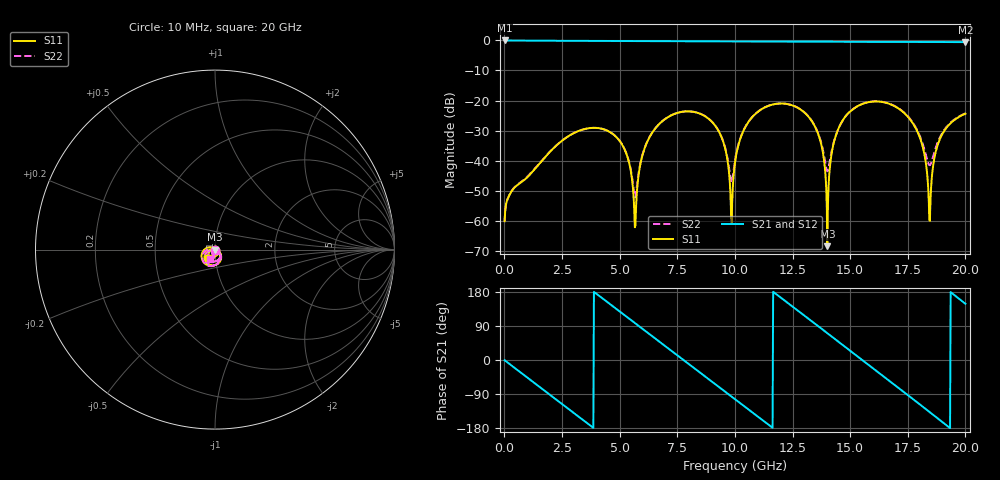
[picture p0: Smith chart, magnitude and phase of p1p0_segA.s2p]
! Stitch-density study - 40 x 12 mm symmetric stripline, cut at x=20 mm
! Case: p1p0_segA
! Sweep: 10 MHz - 20 GHz, 25 MHz step, 4 cores
# GHz S MA R 50.000000
! Terminal data exported
! Port[1] = U1.PAD1.SIG
! Port[2] = U2.PAD1.SIG
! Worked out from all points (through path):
!   801 points, 10 MHz to 20 GHz, reference 50 ohm
!   highest |S21| = -0.01 dB at 10 MHz (marker M1); lowest = -0.6 dB at 20 GHz (marker M2)
!   group delay of S21, straight-line fit = 129 ps
!   lowest |S11| = -68.5 dB at 14.01 GHz (marker M3), VSWR 1.00, Z = 50 - j0.0318 ohm
!   |S11| at or under -10 dB: start of sweep to end of sweep
!   |S22| runs from -60.2 to -20.3 dB; largest |S21 - S12| = 0
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0.01  0.000981 26.1  0.9991 -0.5  0.9991 -0.5  0.000981 26.1
1.76  0.01139 -5.3  0.9891 -81.9  0.9891 -81.9  0.01152 -7.7
3.36  0.03255 -66.9  0.983 -155.9  0.983 -155.9  0.03257 -67.5
5.01  0.02105 -140.7  0.978 127.8  0.978 127.8  0.02115 -137.3
5.66  0.0007776 -114.1  0.9763 97.7  0.9763 97.7  0.002439 -92.2
6.035  0.01411 -12.4  0.9751 80.3  0.9751 80.3  0.01431 -19.7
6.685  0.03952 -40.6  0.9726 50.3  0.9726 50.3  0.03961 -42.9
8.185  0.06507 -109.1  0.9671 -19.0  0.9671 -19.0  0.06516 -108.2
9.36  0.02772 -162.4  0.9656 -73.4  0.9656 -73.4  0.028 -155.8
9.835  0.001266 -147.6  0.9647 -95.4  0.9647 -95.4  0.004404 -108.6
10.01  0.009552 -18.5  0.9642 -103.6  0.9642 -103.6  0.01046 -37.8
10.56  0.04244 -40.5  0.9619 -129.1  0.9619 -129.1  0.04268 -44.3
11.685  0.08668 -91.8  0.9563 178.8  0.9563 178.8  0.08687 -91.5
13.36  0.04407 -168.6  0.9548 101.2  0.9548 101.2  0.04456 -161.0
14.01  0.0003776 -122.5  0.954 70.8  0.954 70.8  0.006642 -110.0
14.285  0.01947 -31.1  0.9527 58.0  0.9527 58.0  0.02006 -48.5
14.735  0.05065 -51.8  0.9495 37.0  0.9495 37.0  0.05018 -56.7
16.685  0.08859 -145.9  0.9437 -54.0  0.9437 -54.0  0.08908 -140.3
17.91  0.03091 154.4  0.9439 -111.7  0.9439 -111.7  0.0321 175.5
18.46  0.0009939 -2.1  0.943 -137.9  0.943 -137.9  0.008418 -129.5
18.91  0.0236 -71.8  0.9415 -159.3  0.9415 -159.3  0.0251 -83.2
20  0.06033 -128.8  0.9369 148.3  0.9369 148.3  0.06105 -119.2
